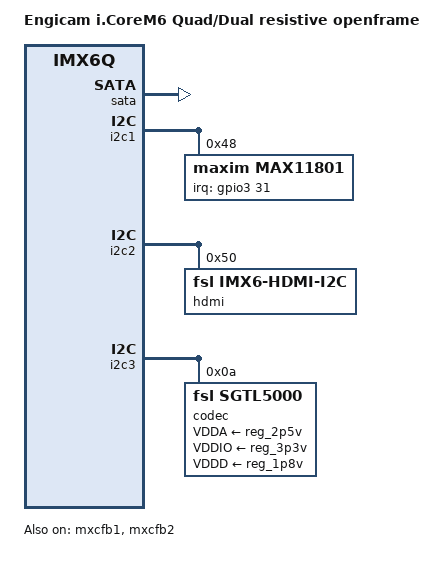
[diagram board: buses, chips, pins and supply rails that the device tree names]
/*
 * Copyright (C) 2013 Freescale Semiconductor, Inc.
 *
 * This program is free software; you can redistribute it and/or modify
 * it under the terms of the GNU General Public License version 2 as
 * published by the Free Software Foundation.
 */

/dts-v1/;

#include <dt-bindings/gpio/gpio.h>
#include "imx6q.dtsi"
#include "imx6qdl-icore.dtsi"

/ {
	model = "Engicam i.CoreM6 Quad/Dual resistive openframe";
	compatible = "fsl,imx6-icore", "fsl,imx6q";
};

&ldb {
	ipu_id = <0>;
	sec_ipu_id = <0>;
};

&mxcfb1 {
	status = "okay";
};

&mxcfb2 {
	status = "okay";
};

&sata {
	status = "okay";
};

/* To be enabled for PCI peripheral.
   Please enable also the PCI support kernel options:
   CONFIG_PCI and PCI_IMX6
&pcie {
	status = "okay";
};
*/

&i2c1 {

	max11801@48 {
		compatible = "maxim,max11801";
		reg = <0x48>;
		interrupt-parent = <&gpio3>;
		interrupts = <31 2>;
		work-mode = <0>;/*DCM mode*/
	};

};

&i2c2 {

	hdmi: edid@50 {
		compatible = "fsl,imx6-hdmi-i2c";
		reg = <0x50>;
	};

};

 &i2c3 {

	codec: sgtl5000@0a {
		compatible = "fsl,sgtl5000";
		reg = <0x0a>;
		clocks = <&clks 201>;
		VDDA-supply = <&reg_2p5v>;
		VDDIO-supply = <&reg_3p3v>;
		VDDD-supply = <&reg_1p8v>;
	};
};

&iomuxc {

	pinctrl-assert-gpios = <&gpio1 2 GPIO_ACTIVE_HIGH>;
	
	hog {
		pinctrl_hog: hoggrp {
			fsl,pins = <
				MX6QDL_PAD_GPIO_2__GPIO1_IO02 0x1f059
				MX6QDL_PAD_EIM_D19__GPIO3_IO19 0x1f059 /* not used pin for ADV7180 driver compatibility */
			>;
		};
	};
};

&iomuxc {
	touchpanel{
		pinctrl_edt_ft5x06:  edt-ft5x06grp  {
			fsl,pins = <
				MX6QDL_PAD_CSI0_DAT12__GPIO5_IO30 0x1b0b0 /*interrupt*/ 
				MX6QDL_PAD_CSI0_DAT14__GPIO6_IO00 0x1b0b0 /*reset edt*/
			>;
		};
	};
};
